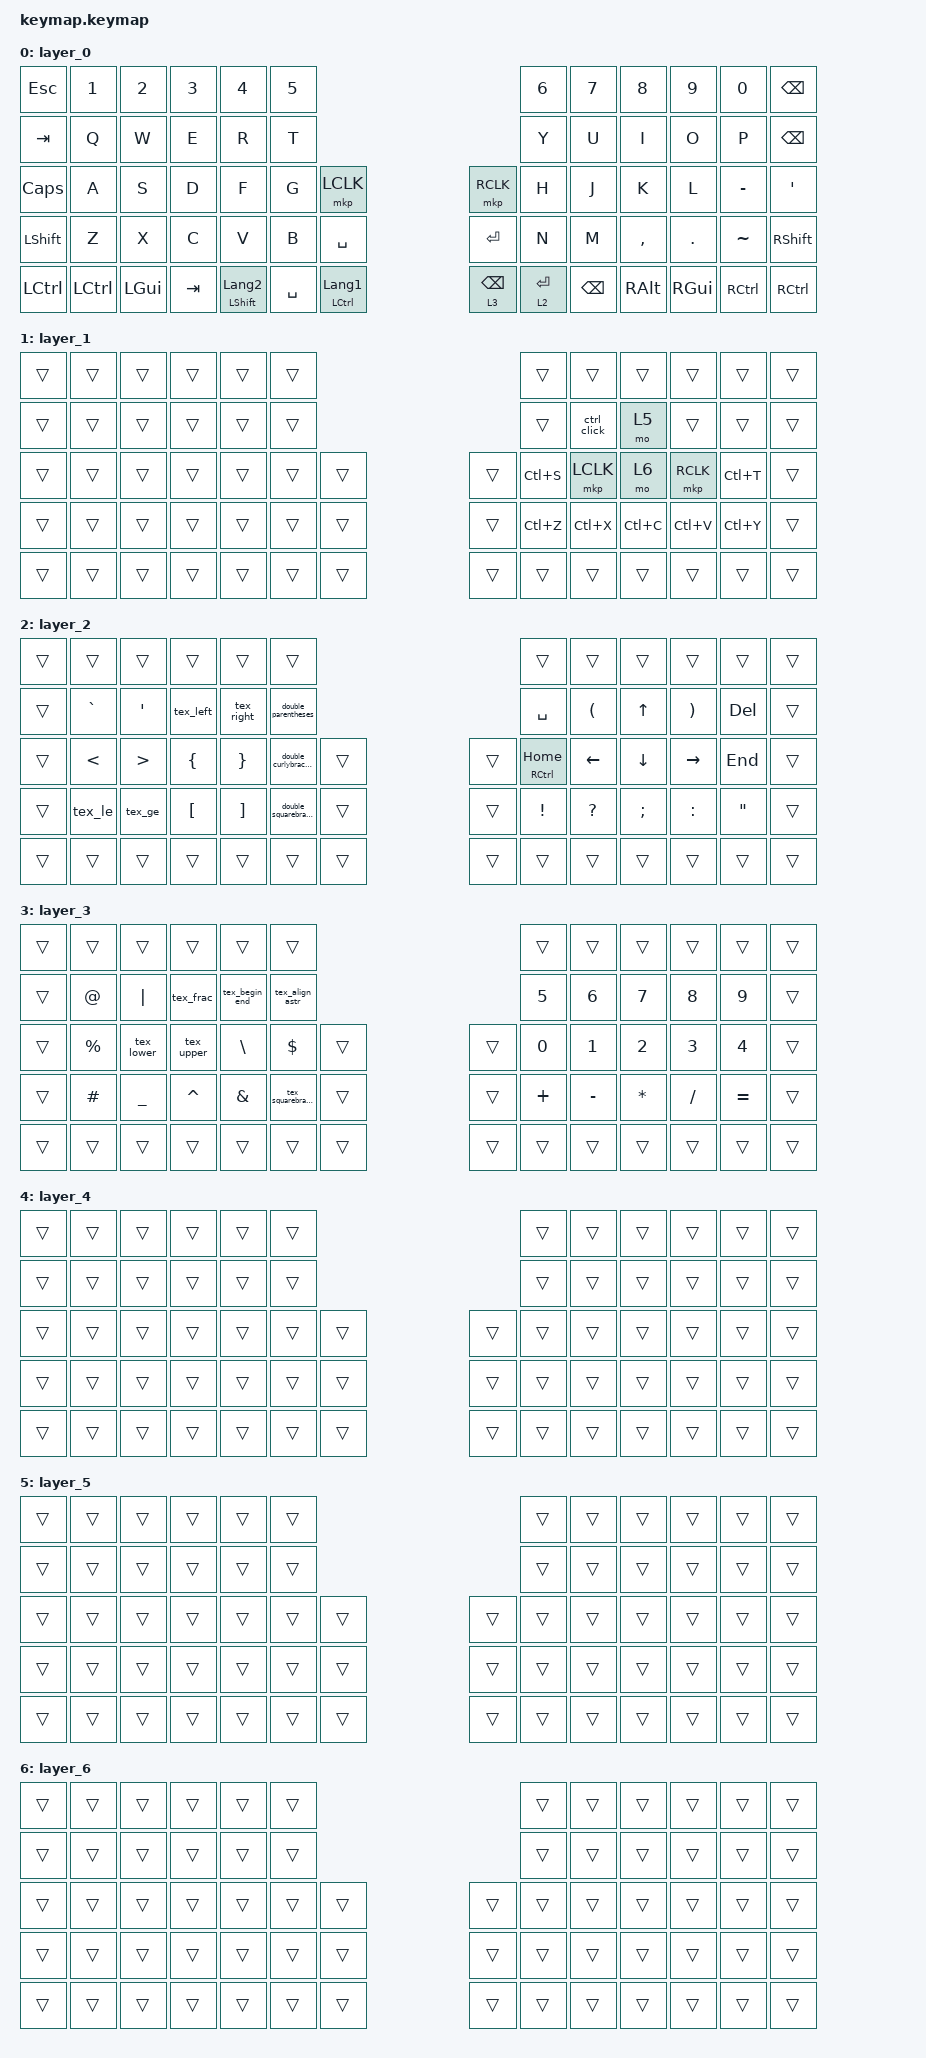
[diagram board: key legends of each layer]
#include <behaviors.dtsi>
#include <input/processors.dtsi>
#include <zephyr/dt-bindings/input/input-event-codes.h>
#include <dt-bindings/zmk/input_transform.h>
#include <dt-bindings/zmk/bt.h>
#include <dt-bindings/zmk/keys.h>
#include <dt-bindings/zmk/outputs.h>
#include <dt-bindings/zmk/pointing.h>

/ {
    /*
     * ================================================================
     * Input Processors
     * ================================================================
     */

    input_processors {
        /*
         * Auto Mouse Layer
         *
         * 通常キーを押すとLayer 1を解除。
         * 下記のマウス操作系キーだけはLayer 1を維持する。
         */
        auto_mouse_layer: auto_mouse_layer {
            compatible = "zmk,input-processor-temp-layer";
            #input-processor-cells = <2>;

            /*
             * 通常キーを押した直後にトラックボールの微小入力で
             * Mouse Layerがすぐ復活するのを防ぐ。
             */
            require-prior-idle-ms = <100>;

            /*
             * AMLを解除しないキー位置。
             *
             * 19 : Ctrl + Click
             * 20 : Horizontal Scroll
             *
             * 30 : Base側 Left Click
             * 31 : Base側 Right Click
             * 32 : Ctrl+S
             * 33 : Left Click
             * 34 : Vertical Scroll
             * 35 : Right Click
             * 36 : Ctrl+T
             *
             * 46-50 : Ctrl+Z/X/C/V/Y
             */
            excluded-positions = <
                19 20
                30 31 32 33 34 35 36
                46 47 48 49 50
            >;
        };


        /*
         * ============================================================
         * Vertical Scroll Mapper
         * ============================================================
         *
         * X = 完全に無視
         * Y = Vertical Wheel
         *
         * INPUT_REL_MISC はZMKのマウスHID処理では使用されないため、
         * X方向の微小なブレが縦スクロールへ混ざらなくなる。
         */

        vertical_scroll_mapper: vertical_scroll_mapper {
            compatible = "zmk,input-processor-code-mapper";
            #input-processor-cells = <0>;

            type = <INPUT_EV_REL>;

            map = <
                INPUT_REL_X INPUT_REL_MISC
                INPUT_REL_Y INPUT_REL_WHEEL
            >;
        };


        /*
         * ============================================================
         * Horizontal Scroll Mapper
         * ============================================================
         *
         * X = Horizontal Wheel
         * Y = 完全に無視
         *
         * Y方向の微小なブレが横スクロールへ混ざらなくなる。
         */

        horizontal_scroll_mapper: horizontal_scroll_mapper {
            compatible = "zmk,input-processor-code-mapper";
            #input-processor-cells = <0>;

            type = <INPUT_EV_REL>;

            map = <
                INPUT_REL_X INPUT_REL_HWHEEL
                INPUT_REL_Y INPUT_REL_MISC
            >;
        };
    };


    /*
     * ================================================================
     * Combos
     * ================================================================
     */

    combos {
        compatible = "zmk,combos";

        bt_clear {
            bindings = <&bt BT_CLR>;
            key-positions = <28 29>;
            layers = <2>;
        };
    };


    /*
     * ================================================================
     * Macros
     * ================================================================
     */

    macros {
        /*
         * ------------------------------------------------------------
         * Ctrl + Left Click
         *
         * QMK:
         * KEEP_AML_Cclick 相当
         *
         * Ctrl押下
         * ↓
         * 左クリック
         * ↓
         * Ctrl解放
         * ------------------------------------------------------------
         */

        ctrl_click: ctrl_click {
            compatible = "zmk,behavior-macro";
            #binding-cells = <0>;

            wait-ms = <20>;
            tap-ms = <30>;

            bindings =
                <&macro_press &kp LCTRL>,
                <&macro_tap &mkp LCLK>,
                <&macro_release &kp LCTRL>;
        };


        /*
         * ------------------------------------------------------------
         * Test macro
         * ------------------------------------------------------------
         */

        hello_macro: hello_macro {
            compatible = "zmk,behavior-macro";
            #binding-cells = <0>;

            wait-ms = <30>;
            tap-ms = <30>;

            bindings = <
                &kp H
                &kp E
                &kp L
                &kp L
                &kp O
            >;
        };


        /*
         * ============================================================
         * Bracket macros
         * ============================================================
         */


        /*
         * ()
         *  ^
         */

        double_parentheses: double_parentheses {
            compatible = "zmk,behavior-macro";
            #binding-cells = <0>;

            wait-ms = <30>;
            tap-ms = <30>;

            bindings = <
                &kp LPAR
                &kp RPAR
                &kp LEFT
            >;
        };


        /*
         * []
         *  ^
         */

        double_squarebrackets: double_squarebrackets {
            compatible = "zmk,behavior-macro";
            #binding-cells = <0>;

            wait-ms = <30>;
            tap-ms = <30>;

            bindings = <
                &kp LBKT
                &kp RBKT
                &kp LEFT
            >;
        };


        /*
         * {}
         *  ^
         */

        double_curlybrackets: double_curlybrackets {
            compatible = "zmk,behavior-macro";
            #binding-cells = <0>;

            wait-ms = <30>;
            tap-ms = <30>;

            bindings = <
                &kp LBRC
                &kp RBRC
                &kp LEFT
            >;
        };


        /*
         * ============================================================
         * TeX macros
         * ============================================================
         */


        /*
         * \left
         */

        tex_left: tex_left {
            compatible = "zmk,behavior-macro";
            #binding-cells = <0>;

            wait-ms = <30>;
            tap-ms = <30>;

            bindings = <
                &kp BSLH
                &kp L
                &kp E
                &kp F
                &kp T
            >;
        };


        /*
         * \right
         */

        tex_right: tex_right {
            compatible = "zmk,behavior-macro";
            #binding-cells = <0>;

            wait-ms = <30>;
            tap-ms = <30>;

            bindings = <
                &kp BSLH
                &kp R
                &kp I
                &kp G
                &kp H
                &kp T
            >;
        };


        /*
         * ^{}
         *  ^
         */

        tex_upper: tex_upper {
            compatible = "zmk,behavior-macro";
            #binding-cells = <0>;

            wait-ms = <30>;
            tap-ms = <30>;

            bindings = <
                &kp CARET
                &kp LBRC
                &kp RBRC
                &kp LEFT
            >;
        };


        /*
         * _{}
         *  ^
         */

        tex_lower: tex_lower {
            compatible = "zmk,behavior-macro";
            #binding-cells = <0>;

            wait-ms = <30>;
            tap-ms = <30>;

            bindings = <
                &kp UNDER
                &kp LBRC
                &kp RBRC
                &kp LEFT
            >;
        };


        /*
         * \frac{}{}
         *       ^
         */

        tex_frac: tex_frac {
            compatible = "zmk,behavior-macro";
            #binding-cells = <0>;

            wait-ms = <30>;
            tap-ms = <30>;

            bindings = <
                &kp BSLH
                &kp F
                &kp R
                &kp A
                &kp C
                &kp LBRC
                &kp RBRC
                &kp LBRC
                &kp RBRC
                &kp LEFT
                &kp LEFT
                &kp LEFT
            >;
        };


        /*
         * \ge
         */

        tex_ge: tex_ge {
            compatible = "zmk,behavior-macro";
            #binding-cells = <0>;

            wait-ms = <30>;
            tap-ms = <30>;

            bindings = <
                &kp BSLH
                &kp G
                &kp E
            >;
        };


        /*
         * \le
         */

        tex_le: tex_le {
            compatible = "zmk,behavior-macro";
            #binding-cells = <0>;

            wait-ms = <30>;
            tap-ms = <30>;

            bindings = <
                &kp BSLH
                &kp L
                &kp E
            >;
        };


        /*
         * $$
         *  ^
         */

        tex_dollar: tex_dollar {
            compatible = "zmk,behavior-macro";
            #binding-cells = <0>;

            wait-ms = <30>;
            tap-ms = <30>;

            bindings = <
                &kp DLLR
                &kp DLLR
                &kp LEFT
            >;
        };


        /*
         * , \dots,
         */

        tex_dots: tex_dots {
            compatible = "zmk,behavior-macro";
            #binding-cells = <0>;

            wait-ms = <30>;
            tap-ms = <30>;

            bindings = <
                &kp COMMA
                &kp SPACE
                &kp BSLH
                &kp D
                &kp O
                &kp T
                &kp S
                &kp COMMA
                &kp SPACE
            >;
        };


        /*
         * \[\]
         */

        tex_squarebrackets: tex_squarebrackets {
            compatible = "zmk,behavior-macro";
            #binding-cells = <0>;

            wait-ms = <30>;
            tap-ms = <30>;

            bindings = <
                &kp BSLH
                &kp LBKT
                &kp BSLH
                &kp RBKT
                &kp LEFT
                &kp LEFT
            >;
        };


        /*
         * \begin{}
         *
         * \end{}
         */

        tex_begin_end: tex_begin_end {
            compatible = "zmk,behavior-macro";
            #binding-cells = <0>;

            wait-ms = <30>;
            tap-ms = <30>;

            bindings = <
                &kp BSLH
                &kp B
                &kp E
                &kp G
                &kp I
                &kp N
                &kp LBRC
                &kp RBRC

                &kp ENTER
                &kp ENTER

                &kp BSLH
                &kp E
                &kp N
                &kp D
                &kp LBRC
                &kp RBRC

                &kp UP
                &kp UP
                &kp END
                &kp LEFT
            >;
        };


        /*
         * \begin{align*}
         *
         * \end{align*}
         */

        tex_align_astr: tex_align_astr {
            compatible = "zmk,behavior-macro";
            #binding-cells = <0>;

            wait-ms = <30>;
            tap-ms = <30>;

            bindings = <
                &kp BSLH
                &kp B
                &kp E
                &kp G
                &kp I
                &kp N
                &kp LBRC
                &kp A
                &kp L
                &kp I
                &kp G
                &kp N
                &kp ASTRK
                &kp RBRC

                &kp ENTER
                &kp ENTER

                &kp BSLH
                &kp E
                &kp N
                &kp D
                &kp LBRC
                &kp A
                &kp L
                &kp I
                &kp G
                &kp N
                &kp ASTRK
                &kp RBRC

                &kp UP
            >;
        };
    };


    /*
     * ================================================================
     * Keymap
     * ================================================================
     *
     * Layer 0 : Base
     * Layer 1 : Mouse
     * Layer 2 : Brackets / Cursor / punctuation
     * Layer 3 : Programming / TeX / Numbers
     * Layer 4 : Settings
     * Layer 5 : Horizontal Scroll
     * Layer 6 : Vertical Scroll
     * ================================================================
     */

    keymap {
        compatible = "zmk,keymap";


        /*
         * ============================================================
         * Layer 0
         * Base
         * ============================================================
         */

        layer_0 {
            bindings = <
&kp ESC    &kp N1     &kp N2    &kp N3    &kp N4    &kp N5                                                   &kp N6       &kp N7    &kp N8     &kp N9    &kp N0        &kp BSPC
&kp TAB    &kp Q      &kp W     &kp E     &kp R     &kp T                                                    &kp Y        &kp U     &kp I      &kp O     &kp P         &kp BSPC
&kp CAPS   &kp A      &kp S     &kp D     &kp F     &kp G        &mkp LCLK                       &mkp RCLK   &kp H        &kp J     &kp K      &kp L     &kp MINUS     &kp SQT
&kp LSHFT  &kp Z      &kp X     &kp C     &kp V     &kp B        &kp SPACE                       &kp RET     &kp N        &kp M     &kp COMMA  &kp DOT   &kp TILDE     &kp RSHFT
&kp LCTRL  &kp LCTRL  &kp LGUI  &kp TAB   &mt LSHIFT LANGUAGE_2  &kp SPACE  &mt LCTRL LANGUAGE_1  &lt 3 BSPC  &lt 2 ENTER &kp BSPC  &kp RALT   &kp RGUI  &kp RCTRL     &kp RCTRL
            >;
        };


        /*
         * ============================================================
         * Layer 1
         * Mouse
         *
         * QMK版:
         *
         * 上側:
         * Ctrl + Click
         * Horizontal Scroll
         *
         * 中央:
         * Ctrl+S
         * Left Click
         * Vertical Scroll
         * Right Click
         * Ctrl+T
         *
         * 下側:
         * Ctrl+Z
         * Ctrl+X
         * Ctrl+C
         * Ctrl+V
         * Ctrl+Y
         * ============================================================
         */

        layer_1 {
            bindings = <
&trans  &trans  &trans  &trans     &trans     &trans                  &trans     &trans        &trans     &trans     &trans     &trans
&trans  &trans  &trans  &trans     &trans     &trans                  &trans     &ctrl_click   &mo 5      &trans     &trans     &trans
&trans  &trans  &trans  &trans     &trans     &trans  &trans  &trans  &kp LC(S)  &mkp LCLK     &mo 6      &mkp RCLK  &kp LC(T)  &trans
&trans  &trans  &trans  &trans     &trans     &trans  &trans  &trans  &kp LC(Z)  &kp LC(X)     &kp LC(C)  &kp LC(V)  &kp LC(Y)  &trans
&trans  &trans  &trans  &trans     &trans     &trans  &trans  &trans  &trans     &trans        &trans     &trans     &trans     &trans
            >;
        };


        /*
         * ============================================================
         * Layer 2
         *
         * Brackets / Cursor / punctuation
         * ============================================================
         */

        layer_2 {
            bindings = <
&trans  &trans                   &trans                   &trans              &trans               &trans                         &trans           &trans          &trans           &trans          &trans           &trans
&trans  &kp GRAVE                &kp SQT                  &tex_left           &tex_right           &double_parentheses            &kp SPACE        &kp LPAR        &kp UP          &kp RPAR        &kp DEL          &trans
&trans  &kp LT                   &kp GT                   &kp LBRC            &kp RBRC              &double_curlybrackets  &trans  &trans  &mt RCTRL HOME  &kp LEFT        &kp DOWN        &kp RIGHT       &kp END          &trans
&trans  &tex_le                  &tex_ge                  &kp LBKT            &kp RBKT              &double_squarebrackets &trans  &trans  &kp EXCL        &kp QMARK       &kp SEMI        &kp COLON       &kp DQT          &trans
&trans  &trans                   &trans                   &trans              &trans                &trans                 &trans  &trans  &trans          &trans          &trans          &trans          &trans           &trans
            >;
        };


        /*
         * ============================================================
         * Layer 3
         *
         * Programming / TeX / Numbers
         * ============================================================
         */

        layer_3 {
            bindings = <
&trans  &trans      &trans      &trans           &trans           &trans                                &trans     &trans     &trans     &trans     &trans     &trans
&trans  &kp AT      &kp PIPE    &tex_frac        &tex_begin_end   &tex_align_astr                       &kp N5     &kp N6     &kp N7     &kp N8     &kp N9     &trans
&trans  &kp PRCNT   &tex_lower  &tex_upper       &kp BSLH         &kp DLLR           &trans  &trans      &kp N0     &kp N1     &kp N2     &kp N3     &kp N4     &trans
&trans  &kp HASH    &kp UNDER   &kp CARET        &kp AMPS         &tex_squarebrackets &trans &trans      &kp PLUS   &kp MINUS  &kp ASTRK  &kp FSLH   &kp EQUAL  &trans
&trans  &trans      &trans      &trans           &trans           &trans              &trans &trans      &trans     &trans     &trans     &trans     &trans     &trans
            >;
        };


        /*
         * ============================================================
         * Layer 4
         * Settings
         * ============================================================
         */

        layer_4 {
            bindings = <
&trans  &trans  &trans  &trans  &trans  &trans                  &trans  &trans  &trans  &trans  &trans  &trans
&trans  &trans  &trans  &trans  &trans  &trans                  &trans  &trans  &trans  &trans  &trans  &trans
&trans  &trans  &trans  &trans  &trans  &trans  &trans  &trans  &trans  &trans  &trans  &trans  &trans  &trans
&trans  &trans  &trans  &trans  &trans  &trans  &trans  &trans  &trans  &trans  &trans  &trans  &trans  &trans
&trans  &trans  &trans  &trans  &trans  &trans  &trans  &trans  &trans  &trans  &trans  &trans  &trans  &trans
            >;
        };


        /*
         * ============================================================
         * Layer 5
         *
         * Horizontal Scroll
         *
         * Layer 1の横スクロールキーを
         * 押している間だけ有効
         * ============================================================
         */

        layer_5 {
            bindings = <
&trans  &trans  &trans  &trans  &trans  &trans                  &trans  &trans  &trans  &trans  &trans  &trans
&trans  &trans  &trans  &trans  &trans  &trans                  &trans  &trans  &trans  &trans  &trans  &trans
&trans  &trans  &trans  &trans  &trans  &trans  &trans  &trans  &trans  &trans  &trans  &trans  &trans  &trans
&trans  &trans  &trans  &trans  &trans  &trans  &trans  &trans  &trans  &trans  &trans  &trans  &trans  &trans
&trans  &trans  &trans  &trans  &trans  &trans  &trans  &trans  &trans  &trans  &trans  &trans  &trans  &trans
            >;
        };


        /*
         * ============================================================
         * Layer 6
         *
         * Vertical Scroll
         *
         * Layer 1の縦スクロールキーを
         * 押している間だけ有効
         * ============================================================
         */

        layer_6 {
            bindings = <
&trans  &trans  &trans  &trans  &trans  &trans                  &trans  &trans  &trans  &trans  &trans  &trans
&trans  &trans  &trans  &trans  &trans  &trans                  &trans  &trans  &trans  &trans  &trans  &trans
&trans  &trans  &trans  &trans  &trans  &trans  &trans  &trans  &trans  &trans  &trans  &trans  &trans  &trans
&trans  &trans  &trans  &trans  &trans  &trans  &trans  &trans  &trans  &trans  &trans  &trans  &trans  &trans
&trans  &trans  &trans  &trans  &trans  &trans  &trans  &trans  &trans  &trans  &trans  &trans  &trans  &trans
            >;
        };
    };
};


/*
 * ====================================================================
 * Trackball / Input Processor
 * ====================================================================
 *
 * 通常:
 * Trackball
 *   ↓
 * X/Y反転
 *   ↓
 * Mouse Cursor
 *   ↓
 * Layer 1 Auto Mouse Layer
 *
 * AML timeout:
 * 700ms
 *
 * Mouse speed:
 * 6 / 5 = 1.2x
 *
 * Scroll speed:
 * 6 / 5 = 1.2x
 *
 * Layer 5:
 * Horizontal Scroll
 *
 * Layer 6:
 * Vertical Scroll
 * ====================================================================
 */

&pointing_listener {

    /*
     * ================================================================
     * Normal Mouse
     * ================================================================
     *
     * X/Y両方を反転
     * Speed = 6/5
     *
     * Trackball movement
     * -> Layer 1
     *
     * Timeout
     * -> 700ms
     */

    input-processors = <
        &zip_xy_transform (INPUT_TRANSFORM_X_INVERT | INPUT_TRANSFORM_Y_INVERT)
        &zip_xy_scaler 7 6
        &auto_mouse_layer 1 700
    >;


    /*
     * ================================================================
     * Horizontal Scroll
     * ================================================================
     *
     * Layer 5中のみ
     *
     * 左右方向は現在の希望どおり反転。
     * Y方向は完全に無視。
     */

    horizontal_scroll_mode {
        layers = <5>;

        input-processors = <
            &zip_xy_transform INPUT_TRANSFORM_X_INVERT
            &horizontal_scroll_mapper
            &zip_scroll_scaler 6 5
            &auto_mouse_layer 1 700
        >;
    };


    /*
     * ================================================================
     * Vertical Scroll
     * ================================================================
     *
     * Layer 6中のみ
     *
     * Y方向だけをスクロールとして使用。
     * X方向は完全に無視。
     */

    vertical_scroll_mode {
        layers = <6>;

        input-processors = <
            &vertical_scroll_mapper
            &zip_scroll_scaler 6 5
            &auto_mouse_layer 1 700
        >;
    };
};
